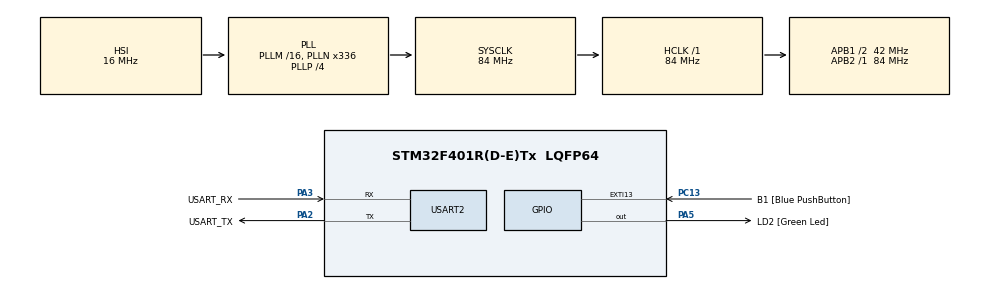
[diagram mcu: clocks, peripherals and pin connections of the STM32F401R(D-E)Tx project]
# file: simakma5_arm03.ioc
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Mcu.Family=STM32F4
Mcu.Name=STM32F401R(D-E)Tx
Mcu.Package=LQFP64
NVIC.PriorityGroup=NVIC_PRIORITYGROUP_0
PA13.GPIO_Label=TMS
PA13.Mode=Serial_Wire
PA13.Signal=SYS_JTMS-SWDIO
PA14.GPIO_Label=TCK
PA14.Mode=Serial_Wire
PA14.Signal=SYS_JTCK-SWCLK
PA2.GPIO_Label=USART_TX
PA2.GPIO_Mode=GPIO_MODE_AF_PP
PA2.GPIO_PuPd=GPIO_NOPULL
PA2.GPIO_Speed=GPIO_SPEED_FREQ_LOW
PA2.Mode=Asynchronous
PA2.Signal=USART2_TX
PA3.GPIO_Label=USART_RX
PA3.GPIO_Mode=GPIO_MODE_AF_PP
PA3.GPIO_PuPd=GPIO_NOPULL
PA3.GPIO_Speed=GPIO_SPEED_FREQ_LOW
PA3.Mode=Asynchronous
PA3.Signal=USART2_RX
PA5.GPIO_Label=LD2 [Green Led]
PA5.GPIO_Mode=GPIO_MODE_OUTPUT_PP
PA5.GPIO_PuPd=GPIO_NOPULL
PA5.GPIO_Speed=GPIO_SPEED_FREQ_LOW
PA5.Signal=GPIO_Output
PB3.GPIO_Label=SWO
PB3.Signal=SYS_JTDO-SWO
PC13-ANTI_TAMP.GPIO_Label=B1 [Blue PushButton]
PC13-ANTI_TAMP.GPIO_ModeDefaultEXTI=GPIO_MODE_IT_FALLING
PC13-ANTI_TAMP.GPIO_PuPd=GPIO_NOPULL
PC13-ANTI_TAMP.Signal=GPXTI13
PC14-OSC32_IN.Mode=LSE-External-Oscillator
PC14-OSC32_IN.Signal=RCC_OSC32_IN
PC15-OSC32_OUT.Mode=LSE-External-Oscillator
PC15-OSC32_OUT.Signal=RCC_OSC32_OUT
PH0\ -\ OSC_IN.Mode=HSE-External-Clock-Source
PH0\ -\ OSC_IN.Signal=RCC_OSC_IN
PH1\ -\ OSC_OUT.Mode=HSE-External-Clock-Source
PH1\ -\ OSC_OUT.Signal=RCC_OSC_OUT
ProjectManager.HeapSize=0x200
ProjectManager.StackSize=0x400
ProjectManager.TargetToolchain=STM32CubeIDE
RCC.48MHZClocksFreq_Value=48000000
RCC.AHBFreq_Value=84000000
RCC.APB1CLKDivider=RCC_HCLK_DIV2
RCC.APB1Freq_Value=42000000
RCC.APB1TimFreq_Value=84000000
RCC.APB2Freq_Value=84000000
RCC.APB2TimFreq_Value=84000000
RCC.CortexFreq_Value=84000000
RCC.HCLKFreq_Value=84000000
RCC.HSE_VALUE=8000000
RCC.HSI_VALUE=16000000
RCC.PLLN=336
RCC.PLLP=RCC_PLLP_DIV4
RCC.PLLQ=7
RCC.SYSCLKFreq_VALUE=84000000
RCC.SYSCLKSource=RCC_SYSCLKSOURCE_PLLCLK
RCC.VCOOutputFreq_Value=336000000
USART2.VirtualMode=VM_ASYNC
board=NUCLEO-F401RE

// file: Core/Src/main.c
/* USER CODE BEGIN Header */
/**
  ******************************************************************************
  * @file           : main.c
  * @brief          : Main program body
  ******************************************************************************
  * @attention
  *
  * Copyright (c) 2023 STMicroelectronics.
  * All rights reserved.
  *
  * This software is licensed under terms that can be found in the LICENSE file
  * in the root directory of this software component.
  * If no LICENSE file comes with this software, it is provided AS-IS.
  *
  ******************************************************************************
  */
/* USER CODE END Header */
#include "main.h"

/* USER CODE BEGIN PD */
#define setbit(reg, bit)      ((reg) |= (1U << (bit)))
#define clearbit(reg, bit)    ((reg) &= (~(1U << (bit))))
#define togglebit(reg, bit)   ((reg) ^= (1U << (bit)))
#define getbit(reg, bit)      (((reg) & (1U << (bit))) >> (bit))
/* USER CODE END PD */

UART_HandleTypeDef huart2;

/* USER CODE BEGIN PV */
const uint16_t BCDto7seg[16] = {
	0b0000000000000011,	// 0
	0b0000000010011111,	// 1
	0b0000000000100101,	// 2
	0b0000000000001101,	// 3
	0b0000000010011001,	// 4
	0b0000000001001001,	// 5
	0b0000000001000001,	// 6
	0b0000000000011111,	// 7
	0b0000000000000001,	// 8
	0b0000000000001001,	// 9
	0b1111111111111111,	// the rest is to avoid undefined behaviour
	0b1111111111111111,
	0b1111111111111111,
	0b1111111111111111,
	0b1111111111111111,
	0b1111111111111111
};
/* USER CODE END PV */

void SystemClock_Config(void);
static void MX_GPIO_Init(void);
static void MX_USART2_UART_Init(void);
/* USER CODE BEGIN PFP */
void EXTI0_IRQHandler();
void EXTI4_IRQHandler();
void TIM3_IRQHandler();
/* USER CODE END PFP */

int main(void)
{

  /* MCU Configuration--------------------------------------------------------*/

  /* Reset of all peripherals, Initializes the Flash interface and the Systick. */
  HAL_Init();

  /* Configure the system clock */
  SystemClock_Config();

  /* Initialize all configured peripherals */
  MX_GPIO_Init();
  MX_USART2_UART_Init();
  /* USER CODE BEGIN 2 */

	/* display */
	// PA9: data
	// PA8: clock
	// PB5: strobe

  	/* buttons */
	// PA1: lap
	// PA4: start-stop
	// PB0: reset

	/* timers */
    // TIM2: stopwatch value counter
	// TIM3: 7seg display clock
	// TIM5: start-stop button debouncing clock

  	/* allow clock for */
	// GPIOA and GPIOB
	RCC->AHB1ENR |= (0b1 << 0) | (0b1 << 1);
	// TIM2, TIM3 and TIM5
	RCC->APB1ENR |= (0b1 << 0) | (0b1 << 1) | (0b1 << 3);
	// SYSCFG
	RCC->APB2ENR |= (0b1 << 14);

	/* GPIOA init */
	// set PA8, PA9, PA5 as digital output, PA4 as digital input, PA1 as an alternate function (TIM2_CH2)
	GPIOA->MODER &= ~((0b11 << 2) | (0b11 << 8) | (0b11 << 10) | (0b11 << 16) | (0b11 << 18));
	GPIOA->MODER |= (0b10 << 2) | (0b01 << 10) | (0b01 << 16) | (0b01 << 18);
	// set low speed for all pins
	GPIOA->OSPEEDR &= ~((0b11 << 2) | (0b11 << 8) | (0b11 << 10) | (0b11 << 16) | (0b11 << 18));
	// disable PU/PD for all pins
	GPIOA->PUPDR &= ~((0b11 << 2) | (0b11 << 8) | (0b11 << 10) | (0b11 << 16) | (0b11 << 18));
	// PA1 alternate function = TIM2_CH2
	GPIOA->AFR[0] |= (0b0001 << 4);	// PA1 AF = TIM2_CH2

	/* EXTI4 init (PA4) */
	// allow interrupts from EXTI4
	EXTI->IMR |= (0b1 << 4);
	// set falling-edge trigger
	EXTI->FTSR |= (0b1 << 4);
	// clear the choice of GPIOx for EXTI4
	SYSCFG->EXTICR[1] &= ~(0b1111 << 0);
	// choose GPIOA for EXTI4
	SYSCFG->EXTICR[1] |= (0b0000 << 0);
	// enable interrupt EXTI4 in the NVIC controller
	NVIC_EnableIRQ(EXTI4_IRQn);

	/* GPIOB init */
	// set PB0 as a digital input and PB5 as a digital output
	GPIOB->MODER &= ~((0b11 << 0) | (0b11 << 10));
	GPIOB->MODER |= (0b01 << 10);
	// set low speed for both pins
	GPIOB->OSPEEDR &= ~((0b11 << 0) | (0b11 << 10));
	// disable PU/PD for both pins
	GPIOB->PUPDR &= ~((0b11 << 0) | (0b11 << 10));

	/* EXTI0 init (PB0) */
	// allow interrupts from EXTI0
	EXTI->IMR |= (0b1 << 0);
	// set falling-edge trigger
	EXTI->FTSR |= (0b1 << 0);
	// clear the choice of GPIOx for EXTI0
	SYSCFG->EXTICR[0] &= ~(0b1111 << 0);
	// choose GPIOB for EXTI0
	SYSCFG->EXTICR[0] |= (0b0001 << 0);
	// enable interrupt EXTI0 in the NVIC controller
	NVIC_EnableIRQ(EXTI0_IRQn);

	/* TIM2 init (stopwatch value) */
	// set prescaler value f_TIM2 = 1600 Hz = 2^4 * 100 Hz, where 2^4 is the value of the counter, i.e. T_TIM2 = 10 ms
	TIM2->PSC = (52500-1);
	TIM2->CNT = 0;
	// update counter registers
	TIM2->EGR |= (0b1 << 0);

	// set CC2 as input, IC2 as TI2
	TIM2->CCMR1 |= (0b01 << 8);
	// enable filtering, f_sample = f_TIM2, N = 8
	TIM2->CCMR1 |= (0b0011 << 12);
	// capture when LOW/FALLING EDGE
	TIM2->CCER |= (0b1 << 5);
	// enable capture/compare on channel 2
	TIM2->CCER |= (0b1 << 4);

	/* TIM3 init (strobe) */
	// enable update interrupt
	TIM3->DIER |= (0b1 << 0);
	NVIC_EnableIRQ(TIM3_IRQn);
	// TIM3 prescaler (f = 84 MHz)
	TIM3->PSC = 0;
	// automatic reload with f_TIM3 = (84*10^6)/([PSC+1]*[ARR+1]) Hz = 168kHz for PSC = 0 and ARR = 499
	TIM3->ARR = 499;
	// enable TIM3
	TIM3->CR1 |= (0b1 << 0);

	/* TIM5 init (debouncer) */
	// f_TIM5 = 1 kHz, i.e. T_TIM5 = 1 ms
	TIM5->PSC = (84000-1);
	TIM5->CNT = 0;
	// update counter registers
	TIM5->EGR |= (0b1 << 0);
	// enable TIM5
	TIM5->CR1 |= (0b1 << 0);

  /* USER CODE END 2 */

  /* Infinite loop */
  while (1)
  {

  }
}

void SystemClock_Config(void)
{
  RCC_OscInitTypeDef RCC_OscInitStruct = {0};
  RCC_ClkInitTypeDef RCC_ClkInitStruct = {0};

  /** Configure the main internal regulator output voltage
  */
  __HAL_RCC_PWR_CLK_ENABLE();
  __HAL_PWR_VOLTAGESCALING_CONFIG(PWR_REGULATOR_VOLTAGE_SCALE2);

  /** Initializes the RCC Oscillators according to the specified parameters
  * in the RCC_OscInitTypeDef structure.
  */
  RCC_OscInitStruct.OscillatorType = RCC_OSCILLATORTYPE_HSI;
  RCC_OscInitStruct.HSIState = RCC_HSI_ON;
  RCC_OscInitStruct.HSICalibrationValue = RCC_HSICALIBRATION_DEFAULT;
  RCC_OscInitStruct.PLL.PLLState = RCC_PLL_ON;
  RCC_OscInitStruct.PLL.PLLSource = RCC_PLLSOURCE_HSI;
  RCC_OscInitStruct.PLL.PLLM = 16;
  RCC_OscInitStruct.PLL.PLLN = 336;
  RCC_OscInitStruct.PLL.PLLP = RCC_PLLP_DIV4;
  RCC_OscInitStruct.PLL.PLLQ = 7;
  if (HAL_RCC_OscConfig(&RCC_OscInitStruct) != HAL_OK)
  {
    Error_Handler();
  }

  /** Initializes the CPU, AHB and APB buses clocks
  */
  RCC_ClkInitStruct.ClockType = RCC_CLOCKTYPE_HCLK|RCC_CLOCKTYPE_SYSCLK
                              |RCC_CLOCKTYPE_PCLK1|RCC_CLOCKTYPE_PCLK2;
  RCC_ClkInitStruct.SYSCLKSource = RCC_SYSCLKSOURCE_PLLCLK;
  RCC_ClkInitStruct.AHBCLKDivider = RCC_SYSCLK_DIV1;
  RCC_ClkInitStruct.APB1CLKDivider = RCC_HCLK_DIV2;
  RCC_ClkInitStruct.APB2CLKDivider = RCC_HCLK_DIV1;

  if (HAL_RCC_ClockConfig(&RCC_ClkInitStruct, FLASH_LATENCY_2) != HAL_OK)
  {
    Error_Handler();
  }
}

static void MX_USART2_UART_Init(void)
{

  huart2.Instance = USART2;
  huart2.Init.BaudRate = 115200;
  huart2.Init.WordLength = UART_WORDLENGTH_8B;
  huart2.Init.StopBits = UART_STOPBITS_1;
  huart2.Init.Parity = UART_PARITY_NONE;
  huart2.Init.Mode = UART_MODE_TX_RX;
  huart2.Init.HwFlowCtl = UART_HWCONTROL_NONE;
  huart2.Init.OverSampling = UART_OVERSAMPLING_16;
  if (HAL_UART_Init(&huart2) != HAL_OK)
  {
    Error_Handler();
  }

}

static void MX_GPIO_Init(void)
{
  GPIO_InitTypeDef GPIO_InitStruct = {0};

  /* GPIO Ports Clock Enable */
  __HAL_RCC_GPIOC_CLK_ENABLE();
  __HAL_RCC_GPIOH_CLK_ENABLE();
  __HAL_RCC_GPIOA_CLK_ENABLE();
  __HAL_RCC_GPIOB_CLK_ENABLE();

  /*Configure GPIO pin Output Level */
  HAL_GPIO_WritePin(LD2_GPIO_Port, LD2_Pin, GPIO_PIN_RESET);

  /*Configure GPIO pin : B1_Pin */
  GPIO_InitStruct.Pin = B1_Pin;
  GPIO_InitStruct.Mode = GPIO_MODE_IT_FALLING;
  GPIO_InitStruct.Pull = GPIO_NOPULL;
  HAL_GPIO_Init(B1_GPIO_Port, &GPIO_InitStruct);

  /*Configure GPIO pin : LD2_Pin */
  GPIO_InitStruct.Pin = LD2_Pin;
  GPIO_InitStruct.Mode = GPIO_MODE_OUTPUT_PP;
  GPIO_InitStruct.Pull = GPIO_NOPULL;
  GPIO_InitStruct.Speed = GPIO_SPEED_FREQ_LOW;
  HAL_GPIO_Init(LD2_GPIO_Port, &GPIO_InitStruct);

}

/* USER CODE BEGIN 4 */
void EXTI0_IRQHandler(){
	// disable TIM2 counter
	TIM2->CR1 &= ~(0b1 << 0);
	// clear TIM2 value
	TIM2->CNT = 0;
	// disable capture/compare on channel 2
	TIM2->CCER &= ~(0b1 << 4);
	// set CC2 as output so it can be reset
	TIM2->CCMR1 &= ~(0b11 << 8);
	// clear capture/compare on channel 2
	TIM2->CCR2 = 0;
	// set CC2 as input, IC2 as TI2
	TIM2->CCMR1 |= (0b01 << 8);
	// update counter registers
	TIM2->EGR |= (0b1 << 0);
	// enable capture/compare on channel 2
	TIM2->CCER |= (0b1 << 4);
	// clear EXTI0 interrupt flag
	EXTI->PR |= (0b1 << 0);
}

void EXTI4_IRQHandler(){
	// clear EXTI4 interrupt flag
	EXTI->PR |= (0b1 << 4);

	/* debouncing */
	// clear previous value
	volatile static int previous = 0;
	// load current value of TIM5
	volatile int current = TIM5->CNT;
	// prevent repeated activation
	if((current - previous) < 700) return;
	// prepare debouncer for next call
	previous = current;

	// toggle TIM2 counter enable (displayed count)
	togglebit(TIM2->CR1, 0);
}

void TIM3_IRQHandler(){
	static int digit = 0;
	static int count = 0;
	static uint8_t cislice[4] = {0};
	static uint16_t data = 0;
	if(count == 0) {
		if(digit == 0) {
			// check whether capture/compare occured
			uint32_t tmp;
			if(TIM2->CCR2 == 0) {
				// TIM2->CNT divided by 2^4, i.e. last digit = 0.01 s
				tmp = TIM2->CNT >> 4;
			} else {
				// TIM2->CC2 divided by 2^4, i.e. last digit = 0.01 s
				tmp = TIM2->CCR2 >> 4;
			}

			for(int i=3; i>=0; i--) {
				cislice[i] = tmp % 10;
				tmp = tmp / 10;
			}
		}
		// data = 1234xxxxABCDEFGH
		if(digit == 0 && cislice[0] == 0) {
			// disable tens of seconds when unused
			data = 0x00FF;
		} else if(digit != 1) {
			data = (0b1 << (15-digit)) | BCDto7seg[cislice[digit]];
		} else {
			// enable H segment
			data = (0b1 << (15-digit)) | (BCDto7seg[cislice[digit]] & 0b11111110);
		}
	}
	// write bit to DATA for 7seg
	uint16_t bit = (data >> count) & 0b1; // & 0b1 just for safety
	if(bit != 0) {
		GPIOA->BSRR |= (0b1 << 9);	// PA9='1'
	} else {
		GPIOA->BSRR |= (0b1 << 25);	// PA9='0'
	}
	GPIOA->BSRR |= (0b1 << 8);	// clock ↑
	__NOP();
	__NOP();
	__NOP();
	__NOP();
	__NOP();
	GPIOA->BSRR |= (0b1 << 24);	// clock ↓

	if(count == 15) {
		count = 0;
		// STROBE (PB5)
		GPIOB->BSRR |= (0b1 << 5);
		__NOP();
		__NOP();
		__NOP();
		__NOP();
		__NOP();
		GPIOB->BSRR |= (0b1 << 21);

		if(digit == 3) {
			digit = 0;
		} else {
			digit++;
		}
	} else {
		count++;
	}

	// clear update interrupt flag
	TIM3->SR &= ~(0b1 << 0);
}
/* USER CODE END 4 */

void Error_Handler(void)
{
  __disable_irq();
  while (1)
  {
  }
}
